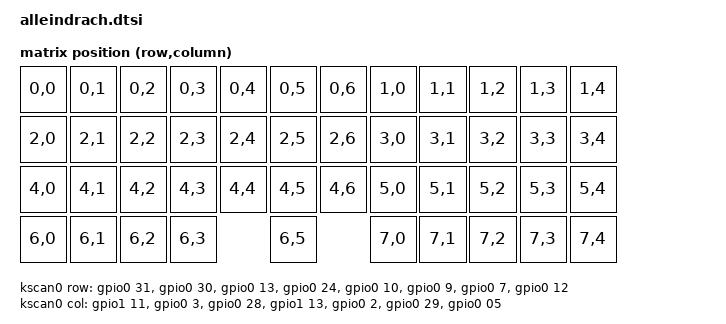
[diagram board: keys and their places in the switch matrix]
/*
 * Copyright (c) 2020 Pete Johanson
 *
 * SPDX-License-Identifier: MIT
 */

 #include <dt-bindings/zmk/matrix_transform.h>

 / {
     chosen {
         zephyr,display = &oled;
         zmk,kscan = &kscan0;
         zmk,matrix-transform = &default_transform;
     };
 
     default_transform: keymap_transform_0 {
         compatible = "zmk,matrix-transform";

        rows = <7>;
        columns = <7>;

        map = <
        RC(0,0) RC(0,1) RC(0,2) RC(0,3) RC(0,4) RC(0,5) RC(0,6) RC(1,0) RC(1,1) RC(1,2) RC(1,3) RC(1,4)
        RC(2,0) RC(2,1) RC(2,2) RC(2,3) RC(2,4) RC(2,5) RC(2,6) RC(3,0) RC(3,1) RC(3,2) RC(3,3) RC(3,4)
        RC(4,0) RC(4,1) RC(4,2) RC(4,3) RC(4,4) RC(4,5) RC(4,6) RC(5,0) RC(5,1) RC(5,2) RC(5,3) RC(5,4)
        RC(6,0) RC(6,1) RC(6,2) RC(6,3)         RC(6,5)         RC(7,0) RC(7,1) RC(7,2) RC(7,3) RC(7,4) 
        >;
     };
 

 
     kscan0: kscan {
        compatible = "zmk,kscan-gpio-matrix";

        diode-direction = "col2row";
        row-gpios
            = <&gpio0 31 (GPIO_ACTIVE_HIGH | GPIO_PULL_DOWN)>
            , <&gpio0 30 (GPIO_ACTIVE_HIGH | GPIO_PULL_DOWN)>
            , <&gpio0 13 (GPIO_ACTIVE_HIGH | GPIO_PULL_DOWN)>
            , <&gpio0 24 (GPIO_ACTIVE_HIGH | GPIO_PULL_DOWN)>
            , <&gpio0 10 (GPIO_ACTIVE_HIGH | GPIO_PULL_DOWN)>
            , <&gpio0 9 (GPIO_ACTIVE_HIGH | GPIO_PULL_DOWN)>
            , <&gpio0 7 (GPIO_ACTIVE_HIGH | GPIO_PULL_DOWN)>
            , <&gpio0 12 (GPIO_ACTIVE_HIGH | GPIO_PULL_DOWN)>
            ;

        col-gpios
            = <&gpio1 11  GPIO_ACTIVE_HIGH>
            , <&gpio0 3 GPIO_ACTIVE_HIGH>
            , <&gpio0 28 GPIO_ACTIVE_HIGH>
            , <&gpio1 13 GPIO_ACTIVE_HIGH>
            , <&gpio0 2 GPIO_ACTIVE_HIGH>
            , <&gpio0 29 GPIO_ACTIVE_HIGH>
            , <&gpio0 05 GPIO_ACTIVE_HIGH>
            ;
    };

     // TODO: per-key RGB node(s)?
 };
 
 &pro_micro_i2c {
     status = "okay";
 
     oled: ssd1306@3c {
         compatible = "solomon,ssd1306fb";
         reg = <0x3c>;
         width = <128>;
         height = <32>;
         segment-offset = <0>;
         page-offset = <0>;
         display-offset = <0>;
         multiplex-ratio = <31>;
         segment-remap;
         com-invdir;
         com-sequential;
         inversion-on;
         prechargep = <0x22>;
     };
 };
 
